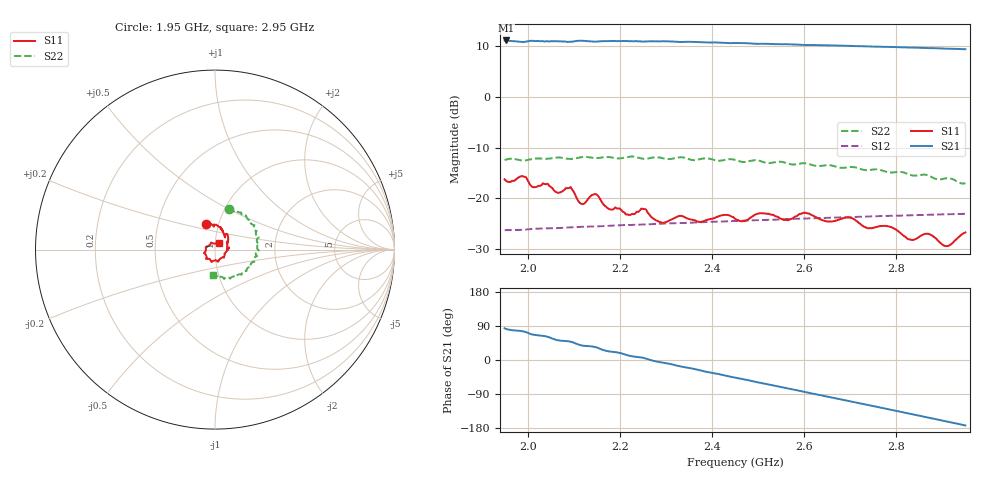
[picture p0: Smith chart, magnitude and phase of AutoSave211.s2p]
!Agilent N9923A: A.07.32
!Date: Thursday, 02 June 2016 01:57:55
!Model: N9923A
!Serial: MY52412257
!GPS Latitude:
!GPS Longitude:
!GPS TimeStamp: 0001-01-01 00:00:00Z
!GPS Seconds Since Last Read: 0
!CHECKSUM:0811395288
!Correction: S11(ON U)S21(ON U)S12(ON U)S22(ON U)
!S2P File: Measurements:S11,S21,S12,S22:
# Hz S DB R 50
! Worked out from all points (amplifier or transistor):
!   301 points, 1.95 GHz to 2.95 GHz, reference 50 ohm
!   highest |S21| = 11.2 dB at 1.953 GHz (marker M1)
!   |S21| within 3 dB of that: start of sweep to end of sweep
!   unconditionally stable (mu >= 1): start of sweep to end of sweep
!   at 2.117 GHz: K = 2.55, MAG = 11.5 dB, |S12| = -25.7 dB
!   at 2.45 GHz: K = 2.40, MAG = 11.0 dB, |S12| = -24.5 dB
!   at 2.95 GHz: K = 2.45, MAG = 9.6 dB, |S12| = -23.1 dB
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1.95e9  -16.26 109.2  11.15 83.7  -26.30 58.1  -12.42 70.8
1.953333e9  -16.60 105.6  11.17 82.0  -26.30 57.3  -12.35 70.4
1.99e9  -15.66 107.1  10.84 75.7  -26.22 49.0  -12.54 65.2
2.01e9  -17.76 93.5  11.10 67.3  -26.07 44.3  -12.24 62.8
2.04e9  -17.23 88.9  11.01 62.0  -25.93 36.9  -12.21 59.7
2.063333e9  -18.85 68.2  11.03 52.5  -25.90 31.5  -11.96 55.1
2.086667e9  -18.03 75.9  10.86 49.8  -25.79 26.2  -12.20 52.8
2.12e9  -21.16 50.4  11.10 37.7  -25.64 18.2  -11.85 47.9
2.146667e9  -19.18 52.4  10.94 34.2  -25.57 11.7  -12.06 43.3
2.17e9  -21.69 29.4  11.04 24.2  -25.47 6.7  -11.85 39.8
2.216667e9  -23.17 8.2  11.06 12.4  -25.29 -4.6  -11.86 32.5
2.25e9  -22.11 8.0  10.94 6.0  -25.20 -12.3  -12.19 28.3
2.286667e9  -24.68 -21.2  10.98 -5.5  -25.03 -20.9  -11.95 24.0
2.363333e9  -24.38 -44.0  10.88 -24.0  -24.79 -38.8  -12.46 10.6
2.453333e9  -24.23 -81.6  10.68 -47.1  -24.48 -60.0  -12.52 -1.2
2.55e9  -24.06 -115.0  10.44 -71.5  -24.16 -82.9  -12.80 -17.6
2.62e9  -23.46 -135.7  10.27 -89.0  -23.96 -99.4  -13.49 -28.0
2.686667e9  -23.89 -161.1  10.13 -105.6  -23.75 -115.3  -13.99 -40.7
2.783333e9  -25.56 164.9  9.90 -130.0  -23.48 -138.5  -14.89 -56.9
2.873333e9  -27.16 117.1  9.66 -153.0  -23.25 -160.2  -15.65 -73.3
2.91e9  -29.47 91.3  9.55 -162.4  -23.18 -169.2  -16.03 -84.4
2.95e9  -26.75 59.1  9.44 -172.7  -23.07 -179.0  -17.04 -94.4
